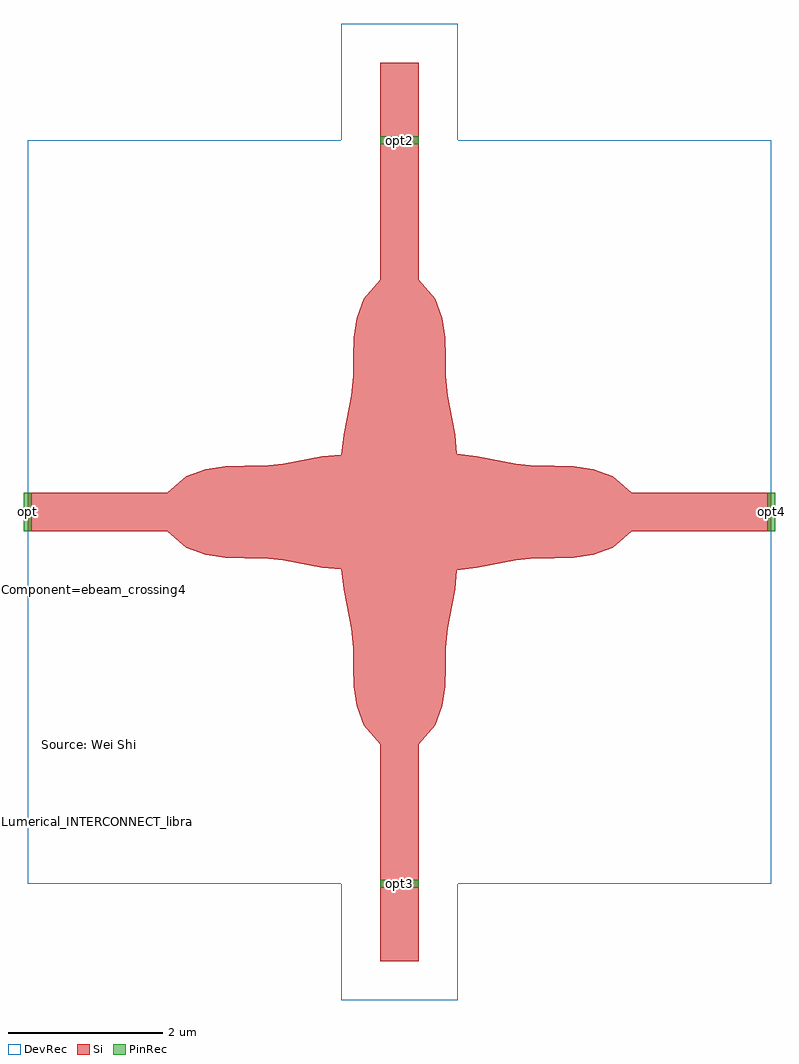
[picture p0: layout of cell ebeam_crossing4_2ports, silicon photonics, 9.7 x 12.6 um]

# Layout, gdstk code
import gdstk
lib = gdstk.Library(unit=1e-6, precision=1e-09)
def R(c, l, rs):  # rectangles x0, y0, x1, y1
    for r in rs: c.add(gdstk.rectangle(r[:2], r[2:], *l))
def P(c, l, *ps):  # polygons
    for p in ps: c.add(gdstk.Polygon(p, *l))
Si = (1, 0)
PinRec = (1, 10)
DevRec = (68, 0)

ebeam_crossing4_2ports = lib.new_cell('ebeam_crossing4_2ports')
P(ebeam_crossing4_2ports, Si, [(-0.25,-5.8),(-0.25,-3),(-0.46,-2.75),(-0.55,-2.5),(-0.59,-2.25),(-0.6,-2),(-0.6,-1.75),(-0.62,-1.5),(-0.72,-1),(-0.75,-0.74),(-1,-0.72),(-1.5,-0.62),(-1.75,-0.6),(-2,-0.6),(-2.25,-0.59),(-2.5,-0.55),(-2.75,-0.46),(-3,-0.25),(-4.8,-0.25),(-4.8,0.25),(-3,0.25),(-2.75,0.46),(-2.5,0.55),(-2.25,0.59),(-2,0.6),(-1.75,0.6),(-1.5,0.62),(-1,0.72),(-0.75,0.74),(-0.72,1),(-0.62,1.5),(-0.6,1.75),(-0.6,2),(-0.59,2.25),(-0.55,2.5),(-0.46,2.75),(-0.25,3),(-0.25,5.8),(0.25,5.8),(0.25,3),(0.46,2.75),(0.55,2.5),(0.59,2.25),(0.6,2),(0.6,1.75),(0.62,1.5),(0.72,1),(0.74,0.75),(1,0.72),(1.5,0.62),(1.75,0.6),(2,0.6),(2.25,0.59),(2.5,0.55),(2.75,0.46),(3,0.25),(4.8,0.25),(4.8,-0.25),(3,-0.25),(2.75,-0.46),(2.5,-0.55),(2.25,-0.59),(2,-0.6),(1.75,-0.6),(1.5,-0.62),(1,-0.72),(0.74,-0.75),(0.72,-1),(0.62,-1.5),(0.6,-1.75),(0.6,-2),(0.59,-2.25),(0.55,-2.5),(0.46,-2.75),(0.25,-3),(0.25,-5.8)])
R(ebeam_crossing4_2ports, PinRec, [(-0.25,-4.85,0.25,-4.75), (-4.85,-0.25,-4.75,0.25), (4.75,-0.25,4.85,0.25), (-0.25,4.75,0.25,4.85)])
P(ebeam_crossing4_2ports, DevRec, [(-0.75,-6.3),(-0.75,-4.8),(-4.8,-4.8),(-4.8,4.8),(-0.75,4.8),(-0.75,6.3),(0.75,6.3),(0.75,4.8),(4.8,4.8),(4.8,-4.8),(0.75,-4.8),(0.75,-6.3)])
ebeam_crossing4_2ports.add(gdstk.Label('Component=ebeam_crossing4', (-4,-1), layer=68, texttype=0))
ebeam_crossing4_2ports.add(gdstk.Label('Lumerical_INTERCONNECT_library=Design kits/ebeam', (-4,-4), layer=68, texttype=0))
ebeam_crossing4_2ports.add(gdstk.Label('opt4', (4.8,0), layer=1, texttype=10))
ebeam_crossing4_2ports.add(gdstk.Label('opt2', (0,4.8), layer=1, texttype=10))
ebeam_crossing4_2ports.add(gdstk.Label('opt', (-4.8,0), layer=1, texttype=10))
ebeam_crossing4_2ports.add(gdstk.Label('opt3', (0,-4.8), layer=1, texttype=10))
ebeam_crossing4_2ports.add(gdstk.Label('o1', (0,4.8), layer=1, texttype=10))
ebeam_crossing4_2ports.add(gdstk.Label('o1', (0,-4.8), layer=1, texttype=10))
ebeam_crossing4_2ports.add(gdstk.Label('Source: Wei Shi', (-4,-3), layer=10, texttype=0))

lib.write_gds('ebeam_crossing4_2ports.gds')
